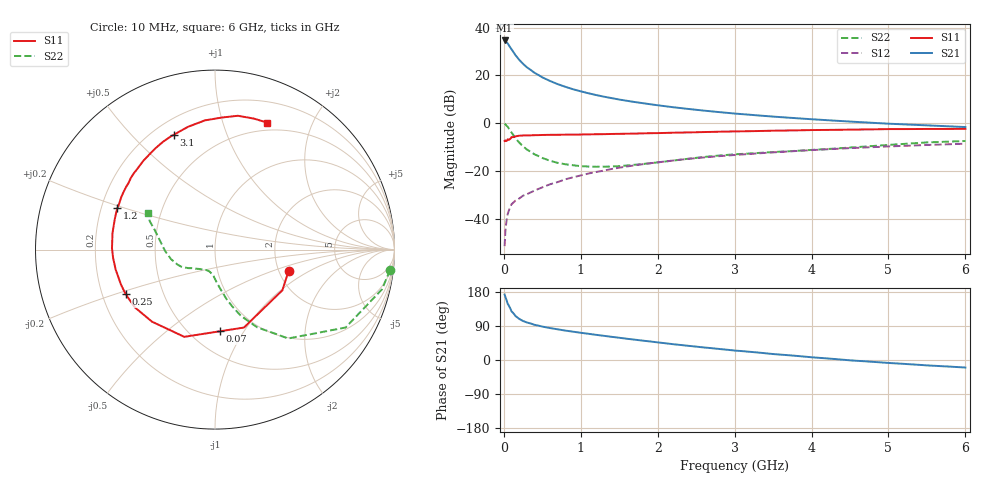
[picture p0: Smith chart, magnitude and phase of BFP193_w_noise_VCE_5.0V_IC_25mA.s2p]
! Infineon Technologies  Discrete & RF Semiconductors
! BFP193
! VCE =  5.0 V,  IC =  25 mA
! Common Emitter S-Parameters:  Jan 2017
# GHz  S  MA  R  50
!  f  S11  S21  S12  S22
! GHz  MAG  ANG  MAG  ANG  MAG  ANG  MAG  ANG
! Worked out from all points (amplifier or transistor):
!   77 points, 10 MHz to 6 GHz, reference 50 ohm
!   highest |S21| = 34.6 dB at 10 MHz (marker M1)
!   |S21| within 3 dB of that: start of sweep to 84.91 MHz
!   unconditionally stable (mu >= 1): 815.6 MHz to 2.479 GHz
!   at 130 MHz: K = 0.43, MSG = 31.2 dB, |S12| = -33.0 dB
!   at 2.2 GHz: K = 1.01, MAG = 10.4 dB, |S12| = -15.6 dB
!   at 6 GHz: K = 0.91, MSG = 3.5 dB, |S12| = -8.5 dB
!   lowest NFmin = 1.12 dB at 450 MHz
!   S11 on the Smith chart (normalised r, x): 10 MHz: 2.26, -0.65; 70 MHz: 0.69, -0.79; 250 MHz: 0.30, -0.22; 1.2 GHz: 0.27, +0.19; 3.1 GHz: 0.28, +0.67; 6 GHz: 0.41, +1.41
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0.01  0.4271 -16.0  53.9 172.8  0.0027 89.4  0.9822 -6.6
0.02  0.4385 -31.1  53.65 166.3  0.0055 76.8  0.9563 -13.4
0.05  0.4633 -69.6  46.79 148.4  0.0127 67.0  0.8475 -30.8
0.07  0.4558 -86.4  41.58 141.7  0.0157 62.6  0.7551 -37.4
0.1  0.5152 -109.4  35.2 128.3  0.0203 58.4  0.6417 -50.5
0.15  0.5335 -131.2  26.72 116.3  0.0241 51.7  0.4915 -61.6
0.2  0.5505 -144.2  21.23 108.5  0.0268 52.9  0.3956 -68.7
0.25  0.5564 -153.4  17.47 102.9  0.0307 53.5  0.3294 -73.2
0.3  0.5589 -159.6  14.78 99.0  0.0329 54.6  0.2827 -76.9
0.4  0.5647 -168.7  11.33 92.8  0.0392 57.6  0.2241 -81.9
0.5  0.5697 -175.5  9.131 88.2  0.0458 59.8  0.1887 -86.2
0.6  0.574 179.2  7.67 84.3  0.0531 60.3  0.165 -89.9
0.7  0.5747 174.8  6.59 81.0  0.0591 61.8  0.1489 -92.8
0.9  0.5796 167.2  5.143 74.7  0.0744 62.4  0.1327 -99.4
1.1  0.5868 160.4  4.243 69.2  0.0891 62.1  0.1247 -106.1
1.2  0.5907 157.1  3.894 66.4  0.0961 61.3  0.1234 -109.2
1.6  0.6057 145.1  2.952 56.1  0.125 58.5  0.1313 -123.0
2.1  0.629 131.6  2.273 44.2  0.1596 53.4  0.1591 -138.8
3.1  0.68 109.6  1.552 23.4  0.2231 41.7  0.2292 -160.2
4.1  0.7241 93.0  1.188 5.7  0.2803 30.6  0.2834 179.4
5.1  0.7565 79.0  0.965 -9.0  0.3326 19.3  0.3618 160.7
6  0.765 67.6  0.835 -19.9  0.3744 9.3  0.4265 151.6
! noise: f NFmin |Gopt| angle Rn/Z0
0.45  1.12  0.3  -176  0.36
0.9  1.19  0.37  -175  0.07
1.9  1.81  0.57  -138  0.16
2.4  2.15  0.62  -122  0.35
